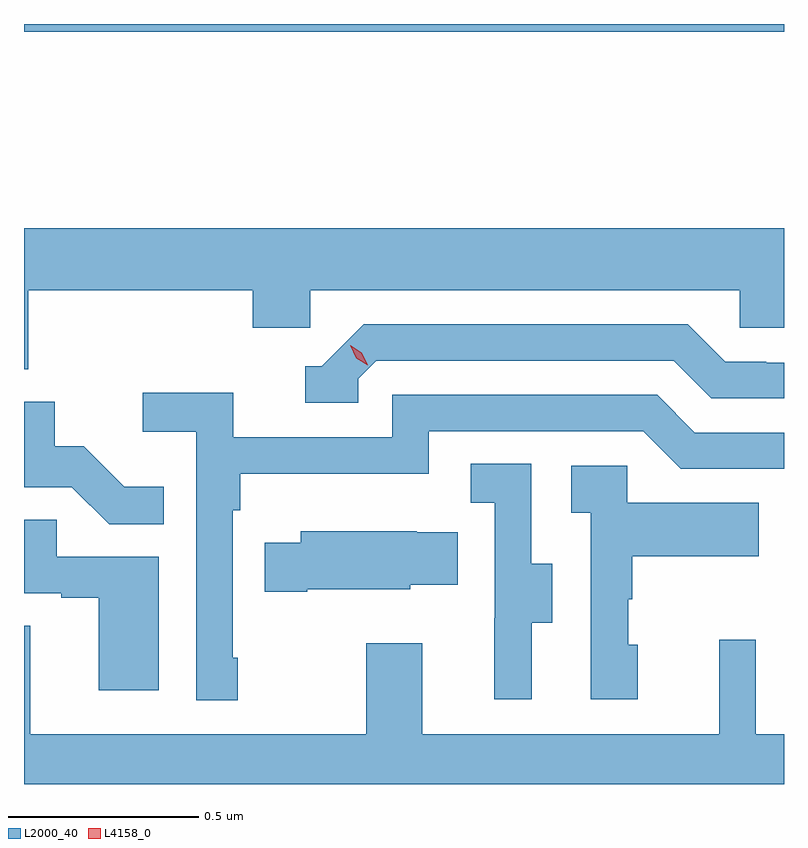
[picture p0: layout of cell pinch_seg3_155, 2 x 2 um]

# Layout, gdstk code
import gdstk
lib = gdstk.Library(unit=1e-6, precision=1e-09)
def R(c, l, rs):  # rectangles x0, y0, x1, y1
    for r in rs: c.add(gdstk.rectangle(r[:2], r[2:], *l))
def P(c, l, *ps):  # polygons
    for p in ps: c.add(gdstk.Polygon(p, *l))
L2000_40 = (2000, 40)
L4158_0 = (4158, 0)

pinch_seg3_155 = lib.new_cell('pinch_seg3_155')
R(pinch_seg3_155, L2000_40, [(1114.197,722.908,1116.197,722.929)])
P(pinch_seg3_155, L2000_40, [(1114.208,722.228),(1114.799,722.228),(1114.799,722.13),(1114.95,722.13),(1114.95,722.228),(1116.081,722.228),(1116.081,722.13),(1116.197,722.13),(1116.197,722.392),(1114.197,722.392),(1114.197,722.02),(1114.208,722.02)],
  [(1115.076,721.995),(1115.124,722.043),(1115.907,722.043),(1116.006,721.944),(1116.197,721.944),(1116.197,722.037),(1116.15,722.037),(1116.15,722.04),(1116.043,722.04),(1115.944,722.139),(1115.091,722.139),(1114.98,722.028),(1114.937,722.028),(1114.937,721.932),(1115.076,721.932)],
  [(1114.759,721.261),(1114.746,721.261),(1114.746,721.649),(1114.766,721.649),(1114.766,721.745),(1115.262,721.745),(1115.262,721.857),(1115.826,721.857),(1115.925,721.758),(1116.197,721.758),(1116.197,721.854),(1115.962,721.854),(1115.863,721.953),(1115.166,721.953),(1115.166,721.842),(1114.748,721.842),(1114.748,721.958),(1114.509,721.958),(1114.509,721.856),(1114.65,721.856),(1114.65,721.149),(1114.759,721.149)],
  [(1114.565,721.711),(1114.461,721.711),(1114.354,721.818),(1114.278,721.818),(1114.278,721.935),(1114.197,721.935),(1114.197,721.71),(1114.323,721.71),(1114.421,721.612),(1114.565,721.612)],
  [(1115.533,721.354),(1115.587,721.354),(1115.587,721.509),(1115.532,721.509),(1115.532,721.772),(1115.373,721.772),(1115.373,721.669),(1115.436,721.669),(1115.436,721.365),(1115.435,721.365),(1115.435,721.152),(1115.533,721.152)],
  [(1115.812,721.296),(1115.787,721.296),(1115.787,721.415),(1115.797,721.415),(1115.797,721.529),(1116.131,721.529),(1116.131,721.669),(1115.784,721.669),(1115.784,721.767),(1115.637,721.767),(1115.637,721.643),(1115.688,721.643),(1115.688,721.152),(1115.812,721.152)],
  [(1114.552,721.527),(1114.283,721.527),(1114.283,721.625),(1114.197,721.625),(1114.197,721.431),(1114.295,721.431),(1114.295,721.419),(1114.394,721.419),(1114.394,721.176),(1114.552,721.176)],
  [(1114.942,721.442),(1115.214,721.442),(1115.214,721.454),(1115.339,721.454),(1115.339,721.591),(1115.231,721.591),(1115.231,721.594),(1114.925,721.594),(1114.925,721.564),(1114.831,721.564),(1114.831,721.435),(1114.942,721.435)],
  [(1116.197,721.06),(1116.123,721.06),(1116.123,721.309),(1116.026,721.309),(1116.026,721.06),(1115.245,721.06),(1115.245,721.3),(1115.098,721.3),(1115.098,721.06),(1114.213,721.06),(1114.213,721.346),(1114.197,721.346),(1114.197,720.929),(1116.197,720.929)])
P(pinch_seg3_155, L4158_0, [(1115.102,722.031),(1115.071,722.05),(1115.055,722.083),(1115.055,722.083),(1115.055,722.083),(1115.086,722.064),(1115.102,722.031),(1115.102,722.031)])

lib.write_gds('pinch_seg3_155.gds')
